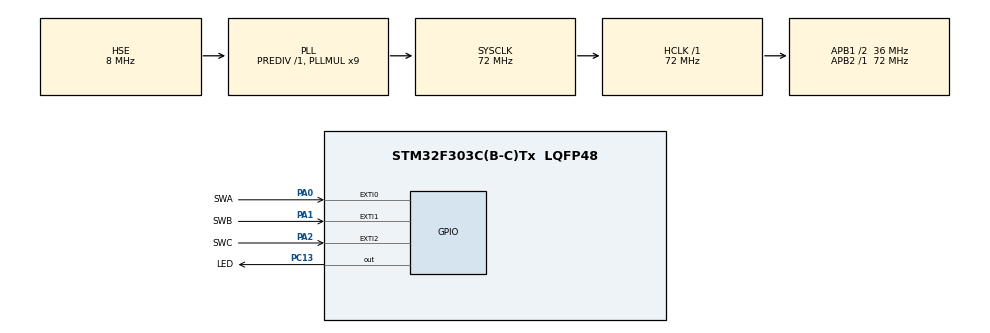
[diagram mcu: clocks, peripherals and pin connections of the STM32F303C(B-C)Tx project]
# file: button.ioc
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Mcu.Family=STM32F3
Mcu.Name=STM32F303C(B-C)Tx
Mcu.Package=LQFP48
NVIC.EXTI0_IRQn=true\:0\:0\:true\:false\:true\:true\:true\:true
NVIC.EXTI1_IRQn=true\:0\:0\:false\:false\:true\:true\:true\:true
NVIC.EXTI2_TSC_IRQn=true\:0\:0\:false\:false\:true\:true\:true\:true
NVIC.PriorityGroup=NVIC_PRIORITYGROUP_4
PA0.GPIO_Label=SWA
PA0.GPIO_ModeDefaultEXTI=GPIO_MODE_IT_RISING_FALLING
PA0.Signal=GPXTI0
PA1.GPIO_Label=SWB
PA1.GPIO_ModeDefaultEXTI=GPIO_MODE_IT_RISING_FALLING
PA1.Signal=GPXTI1
PA13.Mode=Serial_Wire
PA13.Signal=SYS_JTMS-SWDIO
PA14.Mode=Serial_Wire
PA14.Signal=SYS_JTCK-SWCLK
PA2.GPIO_Label=SWC
PA2.GPIO_ModeDefaultEXTI=GPIO_MODE_IT_RISING_FALLING
PA2.Signal=GPXTI2
PC13.GPIO_Label=LED
PC13.Signal=GPIO_Output
PF0-OSC_IN.Mode=HSE-External-Oscillator
PF0-OSC_IN.Signal=RCC_OSC_IN
PF1-OSC_OUT.Mode=HSE-External-Oscillator
PF1-OSC_OUT.Signal=RCC_OSC_OUT
ProjectManager.HeapSize=0x200
ProjectManager.StackSize=0x400
ProjectManager.TargetToolchain=STM32CubeIDE
RCC.AHBFreq_Value=72000000
RCC.APB1CLKDivider=RCC_HCLK_DIV2
RCC.APB1Freq_Value=36000000
RCC.APB1TimFreq_Value=72000000
RCC.APB2Freq_Value=72000000
RCC.APB2TimFreq_Value=72000000
RCC.CortexFreq_Value=72000000
RCC.HCLKFreq_Value=72000000
RCC.HSE_VALUE=8000000
RCC.HSI_VALUE=8000000
RCC.LSE_VALUE=32768
RCC.PLLMUL=RCC_PLL_MUL9
RCC.PLLSourceVirtual=RCC_PLLSOURCE_HSE
RCC.SYSCLKFreq_VALUE=72000000
RCC.SYSCLKSourceVirtual=RCC_SYSCLKSOURCE_PLLCLK
RCC.USBFreq_Value=72000000
board=custom

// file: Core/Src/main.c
/* USER CODE BEGIN Header */
/**
  ******************************************************************************
  * @file           : main.c
  * @brief          : Main program body
  ******************************************************************************
  * @attention
  *
  * Copyright (c) 2023 STMicroelectronics.
  * All rights reserved.
  *
  * This software is licensed under terms that can be found in the LICENSE file
  * in the root directory of this software component.
  * If no LICENSE file comes with this software, it is provided AS-IS.
  *
  ******************************************************************************
  */
/* USER CODE END Header */
#include "main.h"

/* USER CODE BEGIN Includes */
#include "button.h"
/* USER CODE END Includes */

/* USER CODE BEGIN PV */
uint32_t tick = 0;
uint8_t press_counter = 0, long_counter =0, double_counter = 0;
Button swa, swb, swc;
/* USER CODE END PV */

void SystemClock_Config(void);
static void MX_GPIO_Init(void);

int main(void)
{

  /* MCU Configuration--------------------------------------------------------*/

  /* Reset of all peripherals, Initializes the Flash interface and the Systick. */
  HAL_Init();

  /* Configure the system clock */
  SystemClock_Config();

  /* Initialize all configured peripherals */
  MX_GPIO_Init();
  /* USER CODE BEGIN 2 */
  // Initialize buttons
  Button_Init(&swa, SWA_GPIO_Port, SWA_Pin);  // Example GPIO port and pin for SWA
  Button_Init(&swb, SWB_GPIO_Port, SWB_Pin);  // Example GPIO port and pin for SWB
  Button_Init(&swc, SWC_GPIO_Port, SWC_Pin);  // Example GPIO port and pin for SWC

  /* USER CODE END 2 */

  /* Infinite loop */
  /* USER CODE BEGIN WHILE */
  while (1)
  {
	  tick = HAL_GetTick();				//Debugging
    /* USER CODE END WHILE */

    /* USER CODE BEGIN 3 */

//	  Button_IRQ_Handler(&swa);

	  if (Button_Pressed(&swa))
	  {
		  // SWA pressed
		  press_counter++;
		  HAL_GPIO_TogglePin(LED_GPIO_Port, LED_Pin);
	  }

	  if (Button_Long_Pressed(&swa)){
		  long_counter++;
	  }

	  if (Button_Double_Pressed(&swa)){
		  double_counter++;
	  }
	  if (Button_Pressed(&swb)){
		  // SWA pressed
		  press_counter++;
		  HAL_GPIO_TogglePin(LED_GPIO_Port, LED_Pin);
	  }

	  if (Button_Pressed(&swc)){
		  // SWA pressed
		  press_counter++;
		  HAL_GPIO_TogglePin(LED_GPIO_Port, LED_Pin);
	  }
  }
  /* USER CODE END 3 */
}

void SystemClock_Config(void)
{
  RCC_OscInitTypeDef RCC_OscInitStruct = {0};
  RCC_ClkInitTypeDef RCC_ClkInitStruct = {0};

  /** Initializes the RCC Oscillators according to the specified parameters
  * in the RCC_OscInitTypeDef structure.
  */
  RCC_OscInitStruct.OscillatorType = RCC_OSCILLATORTYPE_HSE;
  RCC_OscInitStruct.HSEState = RCC_HSE_ON;
  RCC_OscInitStruct.HSEPredivValue = RCC_HSE_PREDIV_DIV1;
  RCC_OscInitStruct.HSIState = RCC_HSI_ON;
  RCC_OscInitStruct.PLL.PLLState = RCC_PLL_ON;
  RCC_OscInitStruct.PLL.PLLSource = RCC_PLLSOURCE_HSE;
  RCC_OscInitStruct.PLL.PLLMUL = RCC_PLL_MUL9;
  if (HAL_RCC_OscConfig(&RCC_OscInitStruct) != HAL_OK)
  {
    Error_Handler();
  }

  /** Initializes the CPU, AHB and APB buses clocks
  */
  RCC_ClkInitStruct.ClockType = RCC_CLOCKTYPE_HCLK|RCC_CLOCKTYPE_SYSCLK
                              |RCC_CLOCKTYPE_PCLK1|RCC_CLOCKTYPE_PCLK2;
  RCC_ClkInitStruct.SYSCLKSource = RCC_SYSCLKSOURCE_PLLCLK;
  RCC_ClkInitStruct.AHBCLKDivider = RCC_SYSCLK_DIV1;
  RCC_ClkInitStruct.APB1CLKDivider = RCC_HCLK_DIV2;
  RCC_ClkInitStruct.APB2CLKDivider = RCC_HCLK_DIV1;

  if (HAL_RCC_ClockConfig(&RCC_ClkInitStruct, FLASH_LATENCY_2) != HAL_OK)
  {
    Error_Handler();
  }
}

static void MX_GPIO_Init(void)
{
  GPIO_InitTypeDef GPIO_InitStruct = {0};

  /* GPIO Ports Clock Enable */
  __HAL_RCC_GPIOC_CLK_ENABLE();
  __HAL_RCC_GPIOF_CLK_ENABLE();
  __HAL_RCC_GPIOA_CLK_ENABLE();

  /*Configure GPIO pin Output Level */
  HAL_GPIO_WritePin(LED_GPIO_Port, LED_Pin, GPIO_PIN_RESET);

  /*Configure GPIO pin : LED_Pin */
  GPIO_InitStruct.Pin = LED_Pin;
  GPIO_InitStruct.Mode = GPIO_MODE_OUTPUT_PP;
  GPIO_InitStruct.Pull = GPIO_NOPULL;
  GPIO_InitStruct.Speed = GPIO_SPEED_FREQ_LOW;
  HAL_GPIO_Init(LED_GPIO_Port, &GPIO_InitStruct);

  /*Configure GPIO pins : SWA_Pin SWB_Pin SWC_Pin */
  GPIO_InitStruct.Pin = SWA_Pin|SWB_Pin|SWC_Pin;
  GPIO_InitStruct.Mode = GPIO_MODE_IT_RISING_FALLING;
  GPIO_InitStruct.Pull = GPIO_NOPULL;
  HAL_GPIO_Init(GPIOA, &GPIO_InitStruct);

  /* EXTI interrupt init*/
  HAL_NVIC_SetPriority(EXTI0_IRQn, 0, 0);
  HAL_NVIC_EnableIRQ(EXTI0_IRQn);

  HAL_NVIC_SetPriority(EXTI1_IRQn, 0, 0);
  HAL_NVIC_EnableIRQ(EXTI1_IRQn);

  HAL_NVIC_SetPriority(EXTI2_TSC_IRQn, 0, 0);
  HAL_NVIC_EnableIRQ(EXTI2_TSC_IRQn);

}

/* USER CODE BEGIN 4 */

void HAL_GPIO_EXTI_Callback(uint16_t GPIO_Pin) {
    switch  (GPIO_Pin){
    case SWA_Pin:
    	Button_IRQ_Handler(&swa);
    	break;

    case SWB_Pin:
    	Button_IRQ_Handler(&swb);
    	break;

    case SWC_Pin:
    	Button_IRQ_Handler(&swc);
    	break;

	/*To add more button
	 * case BUTTTON_NAME:
	 * Button_IRQ_Handler(&swx);
	 * break;
	 */
	}
}
/* USER CODE END 4 */

void Error_Handler(void)
{
  __disable_irq();
  while (1)
  {
  }
}
